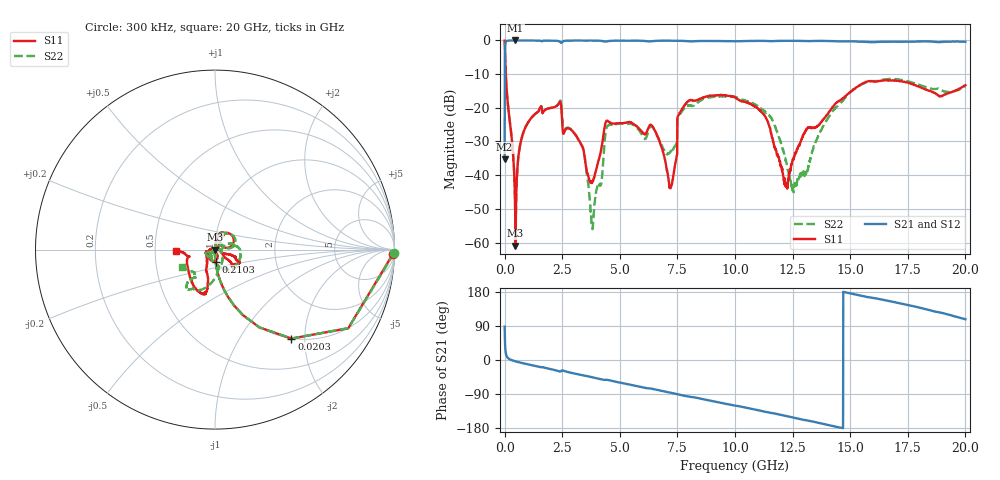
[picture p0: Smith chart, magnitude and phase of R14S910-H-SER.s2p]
!{R14S910}
!Johanson Technology Inc.
!www.johansontechnology.com
!Test Board Conditions:
!Substrate Type  RO4350B
!Substrate Thickness  20 mil
!Substrate Dk  3.66
!TL Type: GCPW
!TL Trace Width  36 mil
!TL Gap  12 mil
!Electrode orientation  Horizontal
!DUT TOPOLOGY	SERIES
!Mounting Pad LxW  26x36 mil
! Created Wed Nov 25 17:33:21 2020
! 2 Port Network Data from SP1.SP block
! freq  magS11  angS11  magS21  angS21  magS12  angS12  magS22  angS22
# khz S ma R 50
! decimated to every 10th point (10 MHz spacing) of the original 1 MHz Johanson file; values unchanged
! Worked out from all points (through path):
!   2001 points, 300 kHz to 20 GHz, reference 50 ohm
!   highest |S21| = 0.00 dB at 470.3 MHz (marker M1); lowest = -35.3 dB at 300 kHz (marker M2)
!   group delay of S21, straight-line fit = 34.7 ps
!   lowest |S11| = -60.9 dB at 470.3 MHz (marker M3), VSWR 1.00, Z = 49.9 - j0.0726 ohm
!   |S11| at or under -10 dB: 52.13 MHz to end of sweep
!   |S22| runs from -61.1 to 0.0 dB; largest |S21 - S12| = 0.016
!   S11 on the Smith chart (normalised r, x): 300 kHz: 26, -82; 20.3 MHz: 1.00, -1.72; 210.3 MHz: 1.00, -0.14; 20 GHz: 0.64, -0.01
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300  0.993 -1.3  0.01711 87.9  0.01711 88.6  0.9982 -1.1
20300  0.6532 -49.4  0.7555 40.7  0.7566 40.6  0.6537 -49.3
110300  0.15 -82.2  0.9885 7.8  0.9881 7.7  0.1505 -82.3
210300  0.06893 -87.5  0.9971 2.3  0.9974 2.2  0.06932 -87.7
470300  0.0008977 -126.0  0.9999 -3.5  0.9993 -3.5  0.000887 -94.7
790300  0.04096 82.3  0.9984 -8.4  0.9986 -8.4  0.04094 80.6
1510300  0.0968 72.8  0.9934 -18.2  0.9928 -18.2  0.09726 68.8
2370300  0.1183 51.4  0.97 -30.0  0.9703 -30.1  0.1205 46.9
3340300  0.02804 44.5  0.9957 -39.8  0.9953 -39.8  0.02797 40.1
3810300  0.007941 -38.2  0.9954 -45.7  0.9956 -45.6  0.00158 130.2
4500300  0.06271 -112.6  0.9787 -52.8  0.9775 -52.8  0.05491 -136.9
6670300  0.0358 -169.1  0.9906 -79.5  0.9903 -79.4  0.03586 -146.3
7220300  0.006756 96.8  0.992 -86.7  0.9914 -86.7  0.02303 -81.2
7810300  0.1093 -38.0  0.9805 -94.5  0.9811 -94.4  0.09862 18.4
1.00003e7  0.1426 -26.1  0.9718 -120.2  0.9717 -120.3  0.1456 -46.5
1.13103e7  0.07477 -19.9  0.9838 -136.5  0.9825 -136.5  0.0877 -82.8
1.22103e7  0.007143 88.1  0.9868 -147.7  0.9886 -147.7  0.01667 -144.7
1.25803e7  0.01911 165.8  0.9853 -152.6  0.9881 -152.5  0.007001 104.8
1.33403e7  0.05037 -164.0  0.9804 -161.9  0.9813 -161.8  0.0217 16.0
1.49803e7  0.1693 -103.2  0.9706 176.2  0.9718 175.9  0.1677 -92.0
1.66703e7  0.2534 -105.1  0.958 155.8  0.952 155.6  0.2684 -124.2
2e7  0.2164 -177.7  0.9572 107.6  0.9547 107.7  0.2074 -151.8
